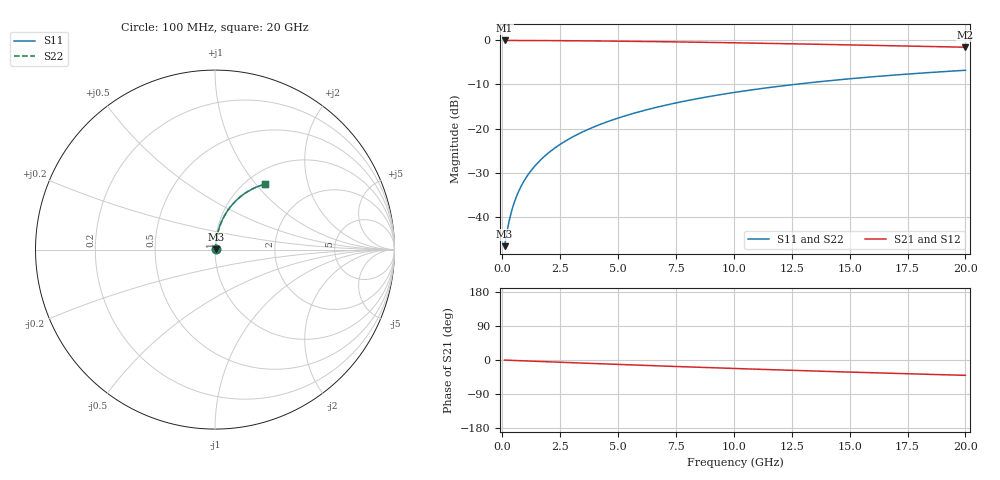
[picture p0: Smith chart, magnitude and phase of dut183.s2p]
! Touchstone file exported from HFSS 2024.1.0
!  File:  C:/UserFiles/LocalFiles/RDL_TSV_Batchsim/temp_RDL_top_183_1778686301.aedt
!  Generated:  11:34:03 PM May 13, 2026
!  Design:  RDL_top
!  Project:  temp_RDL_top_183_1778686301
!  Setup:  Setup1
!  Solution:  Sweep
! Variables:
!  dtsv = 10.80580581um
!  hbump = 3um
!  htsv = 86.74um
!  ldown = 100um
!  lrdl = 503.33um
!  p = 40
!  p1 = 53.22um
!  rhole = 1um
!  t = 450um
!  tdown = 3.915915916um
!  trdl = 3.68um
!  wdown = 15.38538539um
!  wrdl = 13.25um
# GHz S MA R 50.000000
! Terminal data exported
! Port[1] = Box2_T1
! Port[2] = Box2_T2
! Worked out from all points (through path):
!   200 points, 100 MHz to 20 GHz, reference 50 ohm
!   highest |S21| = -0.03 dB at 100 MHz (marker M1); lowest = -1.6 dB at 20 GHz (marker M2)
!   group delay of S21, straight-line fit = 5.62 ps
!   lowest |S11| = -46.7 dB at 100 MHz (marker M3), VSWR 1.01, Z = 50.4 + j0.277 ohm
!   |S11| at or under -10 dB: start of sweep to 12.62 GHz
!   |S22| runs from -46.7 to -6.8 dB; largest |S21 - S12| = 3.3e-15
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0.1  0.004645 36.2  0.9963 -0.2  0.9963 -0.2  0.004645 36.2
! Gamma 0 0 0 0
! Port Impedance 50 0 50 0
0.2  0.006675 55.0  0.9962 -0.5  0.9962 -0.5  0.006675 55.0
0.3  0.009066 64.2  0.9961 -0.7  0.9961 -0.7  0.009066 64.2
0.4  0.01157 69.3  0.9959 -1.0  0.9959 -1.0  0.01157 69.3
0.5  0.01412 72.6  0.9958 -1.2  0.9958 -1.2  0.01412 72.6
0.6  0.01668 74.8  0.9957 -1.4  0.9957 -1.4  0.01668 74.8
0.8  0.02184 77.5  0.9954 -1.9  0.9954 -1.9  0.02184 77.5
1.1  0.02963 79.7  0.9948 -2.6  0.9948 -2.6  0.02963 79.7
1.5  0.04007 81.0  0.994 -3.6  0.994 -3.6  0.04007 81.0
1.8  0.04792 81.5  0.9933 -4.3  0.9933 -4.3  0.04792 81.5
2.1  0.05578 81.6  0.9924 -5.0  0.9924 -5.0  0.05578 81.6
2.7  0.07151 81.4  0.9903 -6.4  0.9903 -6.4  0.07151 81.4
3.5  0.09245 80.7  0.9868 -8.2  0.9868 -8.2  0.09245 80.7
4.2  0.1107 79.8  0.9831 -9.9  0.9831 -9.9  0.1107 79.8
5  0.1315 78.6  0.9783 -11.7  0.9783 -11.7  0.1315 78.6
5.9  0.1547 77.2  0.9722 -13.7  0.9722 -13.7  0.1547 77.2
6.8  0.1776 75.7  0.9655 -15.6  0.9655 -15.6  0.1776 75.7
8.3  0.2151 73.0  0.9531 -18.8  0.9531 -18.8  0.2151 73.0
10.1  0.2586 69.8  0.9367 -22.5  0.9367 -22.5  0.2586 69.8
13.4  0.3331 63.8  0.9041 -29.0  0.9041 -29.0  0.3331 63.8
16.7  0.3995 58.1  0.8696 -34.9  0.8696 -34.9  0.3996 58.1
20  0.4575 52.7  0.8348 -40.5  0.8348 -40.5  0.4576 52.7
